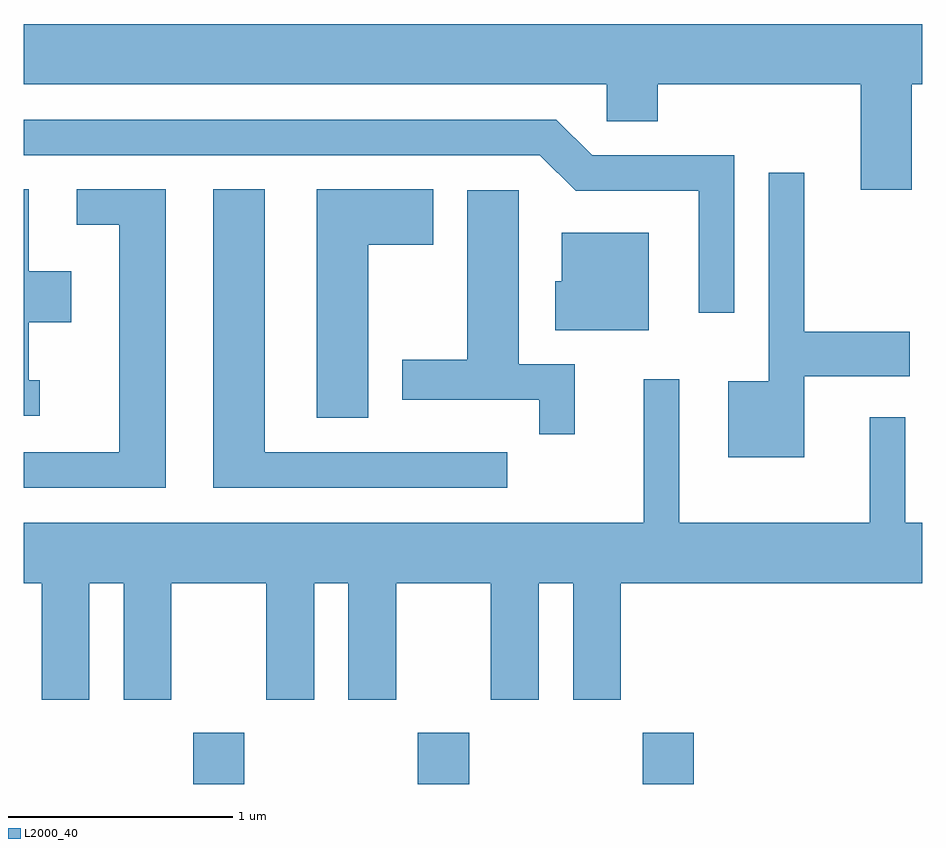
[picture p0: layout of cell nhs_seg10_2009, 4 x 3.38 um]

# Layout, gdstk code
import gdstk
lib = gdstk.Library(unit=1e-6, precision=1e-09)
def R(c, l, rs):  # rectangles x0, y0, x1, y1
    for r in rs: c.add(gdstk.rectangle(r[:2], r[2:], *l))
def A(c, l, x, y, w, h, nx, ny, dx, dy):  # array of equal rectangles
    R(c, l, [(x+i*dx, y+j*dy, x+i*dx+w, y+j*dy+h) for i in range(nx) for j in range(ny)])
def P(c, l, *ps):  # polygons
    for p in ps: c.add(gdstk.Polygon(p, *l))
L2000_40 = (2000, 40)

nhs_seg10_2009 = lib.new_cell('nhs_seg10_2009')
A(nhs_seg10_2009, L2000_40, 244.366, 2168.522, 0.228, 0.227, 3, 1, 1, 0)
P(nhs_seg10_2009, L2000_40, [(247.564,2171.636),(247.611,2171.636),(247.611,2171.904),(243.611,2171.904),(243.611,2171.636),(246.206,2171.636),(246.206,2171.471),(246.434,2171.471),(246.434,2171.636),(247.336,2171.636),(247.336,2171.166),(247.564,2171.166)],
  [(246.774,2171.319),(246.142,2171.319),(245.982,2171.479),(243.611,2171.479),(243.611,2171.321),(245.909,2171.321),(246.069,2171.161),(246.616,2171.161),(246.616,2170.618),(246.774,2170.618)],
  [(247.084,2170.336),(247.554,2170.336),(247.554,2170.534),(247.084,2170.534),(247.084,2171.243),(246.926,2171.243),(246.926,2170.314),(246.746,2170.314),(246.746,2169.976),(247.084,2169.976)],
  [(243.683,2170.319),(243.634,2170.319),(243.634,2170.576),(243.824,2170.576),(243.824,2170.804),(243.634,2170.804),(243.634,2171.169),(243.611,2171.169),(243.611,2170.161),(243.683,2170.161)],
  [(245.144,2170.921),(245.434,2170.921),(245.434,2171.169),(244.916,2171.169),(244.916,2170.151),(245.144,2170.151)],
  [(244.244,2171.169),(243.848,2171.169),(243.848,2171.011),(244.036,2171.011),(244.036,2169.999),(243.611,2169.999),(243.611,2169.841),(244.244,2169.841)],
  [(245.763,2169.999),(244.684,2169.999),(244.684,2171.169),(244.456,2171.169),(244.456,2169.841),(245.763,2169.841)],
  [(246.064,2170.389),(245.814,2170.389),(245.814,2171.164),(245.586,2171.164),(245.586,2170.409),(245.296,2170.409),(245.296,2170.231),(245.906,2170.231),(245.906,2170.078),(246.064,2170.078)],
  [(246.394,2170.974),(246.006,2170.974),(246.006,2170.759),(245.976,2170.759),(245.976,2170.541),(246.394,2170.541)],
  [(243.904,2169.416),(244.056,2169.416),(244.056,2168.896),(244.269,2168.896),(244.269,2169.416),(244.691,2169.416),(244.691,2168.896),(244.904,2168.896),(244.904,2169.416),(245.056,2169.416),(245.056,2168.896),(245.269,2168.896),(245.269,2169.416),(245.691,2169.416),(245.691,2168.896),(245.904,2168.896),(245.904,2169.416),(246.056,2169.416),(246.056,2168.896),(246.269,2168.896),(246.269,2169.416),(247.611,2169.416),(247.611,2169.684),(247.534,2169.684),(247.534,2170.153),(247.376,2170.153),(247.376,2169.684),(246.529,2169.684),(246.529,2170.323),(246.371,2170.323),(246.371,2169.684),(243.611,2169.684),(243.611,2169.416),(243.691,2169.416),(243.691,2168.896),(243.904,2168.896)])

lib.write_gds('nhs_seg10_2009.gds')
